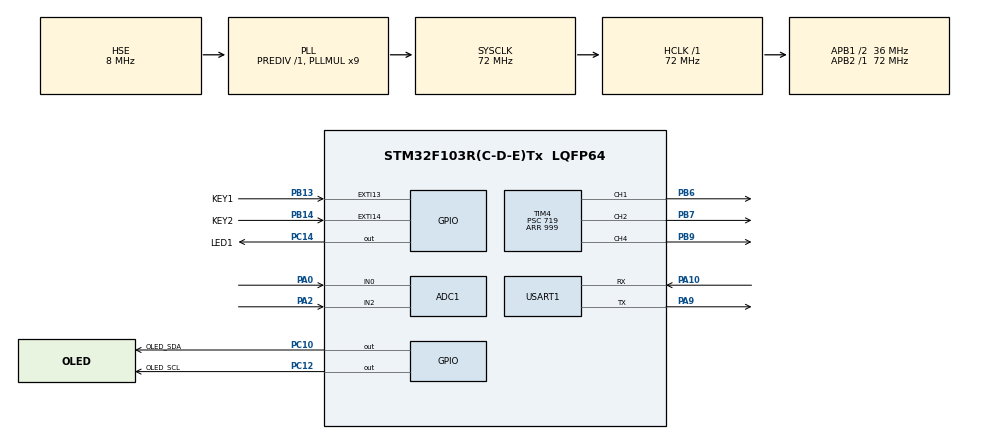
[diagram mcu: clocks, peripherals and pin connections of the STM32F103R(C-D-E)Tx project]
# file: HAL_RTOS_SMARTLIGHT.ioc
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ADC1.Channel-1\#ChannelRegularConversion=ADC_CHANNEL_0
ADC1.Channel-3\#ChannelRegularConversion=ADC_CHANNEL_2
ADC1.ContinuousConvMode=DISABLE
ADC1.ExternalTrigConv=ADC_EXTERNALTRIGCONV_T3_TRGO
ADC1.NbrOfConversion=2
ADC1.NbrOfConversionFlag=1
ADC1.Rank-1\#ChannelRegularConversion=1
ADC1.Rank-3\#ChannelRegularConversion=2
ADC1.SamplingTime-1\#ChannelRegularConversion=ADC_SAMPLETIME_55CYCLES_5
ADC1.SamplingTime-3\#ChannelRegularConversion=ADC_SAMPLETIME_55CYCLES_5
ADC1.master=1
Dma.ADC1.0.Direction=DMA_PERIPH_TO_MEMORY
Dma.ADC1.0.Instance=DMA1_Channel1
Dma.ADC1.0.MemDataAlignment=DMA_MDATAALIGN_HALFWORD
Dma.ADC1.0.MemInc=DMA_MINC_ENABLE
Dma.ADC1.0.Mode=DMA_CIRCULAR
Dma.ADC1.0.PeriphDataAlignment=DMA_PDATAALIGN_HALFWORD
Dma.ADC1.0.PeriphInc=DMA_PINC_DISABLE
Dma.ADC1.0.Priority=DMA_PRIORITY_LOW
Dma.Request0=ADC1
FREERTOS.BinarySemaphores01=myBinarySem01,Dynamic,NULL
FREERTOS.Tasks01=defaultTask,0,128,StartDefaultTask,Default,NULL,Dynamic,NULL,NULL;MAIN_Task,-3,128,Start_MAIN_Task,Default,NULL,Dynamic,NULL,NULL;KEY_PAGE_Task,-3,128,Start_KEY_PAGE_Task,Default,NULL,Dynamic,NULL,NULL
FREERTOS.Timers01=JitterTimer01,JitterTimerCallback01,osTimerOnce,Default,NULL,Dynamic,NULL;JitterTimer02,JitterTimerCallback02,osTimerOnce,Default,NULL,Dynamic,NULL;GET_ADCTimer,GET_ADCTimerCallback,osTimerPeriodic,Default,NULL,Dynamic,NULL
FREERTOS.configLIBRARY_MAX_SYSCALL_INTERRUPT_PRIORITY=5
FREERTOS.configUSE_TIMERS=1
Mcu.Family=STM32F1
Mcu.Name=STM32F103R(C-D-E)Tx
Mcu.Package=LQFP64
NVIC.DMA1_Channel1_IRQn=true\:5\:0\:false\:false\:true\:true\:false\:true\:true
NVIC.EXTI15_10_IRQn=true\:5\:0\:true\:false\:true\:true\:true\:true\:true
NVIC.PriorityGroup=NVIC_PRIORITYGROUP_4
NVIC.RTC_Alarm_IRQn=true\:5\:0\:false\:false\:true\:true\:true\:true\:true
NVIC.TIM7_IRQn=true\:15\:0\:false\:false\:true\:false\:false\:true\:true
NVIC.TimeBase=TIM7_IRQn
NVIC.TimeBaseIP=TIM7
NVIC.USART1_IRQn=true\:5\:0\:false\:false\:true\:true\:true\:true\:true
PA0-WKUP.Signal=ADCx_IN0
PA10.Mode=Asynchronous
PA10.Signal=USART1_RX
PA13.Mode=Serial_Wire
PA13.Signal=SYS_JTMS-SWDIO
PA14.Mode=Serial_Wire
PA14.Signal=SYS_JTCK-SWCLK
PA2.Signal=ADCx_IN2
PA9.Mode=Asynchronous
PA9.Signal=USART1_TX
PB13.GPIO_Label=KEY1
PB13.Signal=GPXTI13
PB14.GPIO_Label=KEY2
PB14.Signal=GPXTI14
PB6.Signal=S_TIM4_CH1
PB7.Signal=S_TIM4_CH2
PB9.Signal=S_TIM4_CH4
PC10.GPIO_Label=OLED_SDA
PC10.Signal=GPIO_Output
PC12.GPIO_Label=OLED_SCL
PC12.Signal=GPIO_Output
PC14-OSC32_IN.GPIO_Label=LED1
PC14-OSC32_IN.Signal=GPIO_Output
PD0-OSC_IN.Mode=HSE-External-Oscillator
PD0-OSC_IN.Signal=RCC_OSC_IN
PD1-OSC_OUT.Mode=HSE-External-Oscillator
PD1-OSC_OUT.Signal=RCC_OSC_OUT
ProjectManager.HeapSize=0x200
ProjectManager.StackSize=0x400
ProjectManager.TargetToolchain=MDK-ARM V5.32
RCC.ADCPresc=RCC_ADCPCLK2_DIV6
RCC.AHBFreq_Value=72000000
RCC.APB1CLKDivider=RCC_HCLK_DIV2
RCC.APB1Freq_Value=36000000
RCC.APB1TimFreq_Value=72000000
RCC.APB2Freq_Value=72000000
RCC.APB2TimFreq_Value=72000000
RCC.HCLKFreq_Value=72000000
RCC.PLLMUL=RCC_PLL_MUL9
RCC.PLLSourceVirtual=RCC_PLLSOURCE_HSE
RCC.RTCClockSelection=RCC_RTCCLKSOURCE_HSE_DIV128
RCC.SYSCLKFreq_VALUE=72000000
RCC.SYSCLKSource=RCC_SYSCLKSOURCE_PLLCLK
RCC.USBFreq_Value=72000000
RTC.Date=29
RTC.Hours=15
RTC.Minutes=55
RTC.Seconds=55
RTC.Year=1
SH.ADCx_IN0.0=ADC1_IN0,IN0
SH.ADCx_IN2.0=ADC1_IN2,IN2
SH.S_TIM4_CH1.0=TIM4_CH1,PWM Generation1 CH1
SH.S_TIM4_CH2.0=TIM4_CH2,PWM Generation2 CH2
SH.S_TIM4_CH4.0=TIM4_CH4,PWM Generation4 CH4
TIM3.AutoReloadPreload=TIM_AUTORELOAD_PRELOAD_ENABLE
TIM3.Period=10
TIM3.Prescaler=71
TIM3.TIM_MasterOutputTrigger=TIM_TRGO_UPDATE
TIM4.Channel-PWM\ Generation1\ CH1=TIM_CHANNEL_1
TIM4.Channel-PWM\ Generation2\ CH2=TIM_CHANNEL_2
TIM4.Channel-PWM\ Generation4\ CH4=TIM_CHANNEL_4
TIM4.OCPolarity_1=TIM_OCPOLARITY_HIGH
TIM4.Period=999
TIM4.Prescaler=719
USART1.VirtualMode=VM_ASYNC
VP_FREERTOS_VS_CMSIS_V1.Mode=CMSIS_V1
VP_RTC_VS_RTC_Activate.Mode=RTC_Enabled
VP_RTC_VS_RTC_Calendar.Mode=RTC_Calendar
VP_SYS_VS_tim7.Mode=TIM7
VP_TIM3_VS_ClockSourceINT.Mode=Internal
board=custom

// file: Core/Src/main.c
/* USER CODE BEGIN Header */
/**
  ******************************************************************************
  * @file           : main.c
  * @brief          : Main program body
  ******************************************************************************
  * @attention
  *
  * Copyright (c) 2023 STMicroelectronics.
  * All rights reserved.
  *
  * This software is licensed under terms that can be found in the LICENSE file
  * in the root directory of this software component.
  * If no LICENSE file comes with this software, it is provided AS-IS.
  *
  ******************************************************************************
  */
/* USER CODE END Header */
#include "main.h"
#include "cmsis_os.h"
#include "adc.h"
#include "dma.h"
#include "rtc.h"
#include "tim.h"
#include "usart.h"
#include "gpio.h"

/* USER CODE BEGIN PTD */
uint8_t UART1_RX_TEMP[1];                                                 // UART1 RECIEVE ONE CHARACTER TEMP
uint8_t UART1_RX_CNT = 0;                                                 // UART1 RECIEVE CHARACTER COUNT
char UART1_RX_BUF[256];                                                   // UART1 RECIEVE STRING
char SUB_RX_BUF[256];                                                     // TEMP ACCESS AND PROCESS BY UART1_RX_BUF
char *pcTEMP_RX;                                                          // SAVE "strstr" STRING BY UART1_RX_BUF
char pcWEEK[4];                                                           // WEEK RECIEVE BY THE UART1
uint16_t usYEAR_FULL, usYEAR_TAIL, usMONTH, usDATE, usHOUR, usMIN, usSEC; // TIME RECIEVE BY THE UART1,
                                                                          // FULL: FOUR DIGITS; TAIL: DOUBLE DIGITS
uint16_t usTIMING_HOUR, usTIMING_MIN, usTIMING_SEC;                       // TIMING RECIEVE BY THE UART1
uint16_t usCTR_BRIGHTNESS;                                                // SET THE BRIGHTNESS BY UART1 COMMAND
char pcREQUEST_ID[37];                                                    // SAVE THE IOT COMMAND REQUEST_ID
uint8_t usLOWER_HALF_SFLAG = 0;                                           // LOWER DISPLAY STATUS FLAG
                                                                          // 0: POWER; 1: TIMING; 2: VOLTAGE; 3: CURRENT
uint8_t usTIMING_CMD;                                                     // TIMING COMMAND, 1: TIMING ON; 0: TIMING OFF
uint16_t psBRIGHTNESS_STORAGE[3] = {0};                                   // USE FOR SAVE BRIGHTNESS TO UPLOAD
/* USER CODE END PTD */

void SystemClock_Config(void);
void MX_FREERTOS_Init(void);

int main(void)
{

  /* MCU Configuration--------------------------------------------------------*/

  /* Reset of all peripherals, Initializes the Flash interface and the Systick. */
  HAL_Init();

  /* Configure the system clock */
  SystemClock_Config();

  /* Initialize all configured peripherals */
  MX_GPIO_Init();
  MX_DMA_Init();
  MX_USART1_UART_Init();
  MX_TIM4_Init();
  MX_ADC1_Init();
  MX_RTC_Init();
  MX_TIM3_Init();
  /* USER CODE BEGIN 2 */
  OLED_Init();                                               // OLED INITITAL
	HAL_TIM_Base_Start(&htim3);                                // START TIM3 TO TRIGGER ADC1
  ADC_GET_START();                                           // ENABLE DMA TO ADC1
	HAL_TIM_PWM_Start(&htim4, TIM_CHANNEL_1);                  // ENABLE PWM CHANNEL1 OUTPUT
	HAL_TIM_PWM_Start(&htim4, TIM_CHANNEL_2);                  // ENABLE PWM CHANNEL2 OUTPUT
	HAL_TIM_PWM_Start(&htim4, TIM_CHANNEL_4);                  // ENABLE PWM CHANNEL4 OUTPUT
	HAL_UART_Receive_IT(&huart1, (uint8_t *)UART1_RX_TEMP, 1); // ENABLE RECEIVE IT ONCE
	HuaweiIot_init();                                          // CONNECT WIFI AND HUAWEIIOT
	HAL_Delay(2000);
	RTC_SYNC_TIME();                                           // WAIT RTC GET THE NEW TIME
  /* USER CODE END 2 */

  /* Call init function for freertos objects (in freertos.c) */
  MX_FREERTOS_Init();

  /* Start scheduler */
  osKernelStart();
  /* We should never get here as control is now taken by the scheduler */
  /* Infinite loop */
  while (1)
  {

  }
}

void SystemClock_Config(void)
{
  RCC_OscInitTypeDef RCC_OscInitStruct = {0};
  RCC_ClkInitTypeDef RCC_ClkInitStruct = {0};
  RCC_PeriphCLKInitTypeDef PeriphClkInit = {0};

  /** Initializes the RCC Oscillators according to the specified parameters
  * in the RCC_OscInitTypeDef structure.
  */
  RCC_OscInitStruct.OscillatorType = RCC_OSCILLATORTYPE_HSE;
  RCC_OscInitStruct.HSEState = RCC_HSE_ON;
  RCC_OscInitStruct.HSEPredivValue = RCC_HSE_PREDIV_DIV1;
  RCC_OscInitStruct.HSIState = RCC_HSI_ON;
  RCC_OscInitStruct.PLL.PLLState = RCC_PLL_ON;
  RCC_OscInitStruct.PLL.PLLSource = RCC_PLLSOURCE_HSE;
  RCC_OscInitStruct.PLL.PLLMUL = RCC_PLL_MUL9;
  if (HAL_RCC_OscConfig(&RCC_OscInitStruct) != HAL_OK)
  {
    Error_Handler();
  }

  /** Initializes the CPU, AHB and APB buses clocks
  */
  RCC_ClkInitStruct.ClockType = RCC_CLOCKTYPE_HCLK|RCC_CLOCKTYPE_SYSCLK
                              |RCC_CLOCKTYPE_PCLK1|RCC_CLOCKTYPE_PCLK2;
  RCC_ClkInitStruct.SYSCLKSource = RCC_SYSCLKSOURCE_PLLCLK;
  RCC_ClkInitStruct.AHBCLKDivider = RCC_SYSCLK_DIV1;
  RCC_ClkInitStruct.APB1CLKDivider = RCC_HCLK_DIV2;
  RCC_ClkInitStruct.APB2CLKDivider = RCC_HCLK_DIV1;

  if (HAL_RCC_ClockConfig(&RCC_ClkInitStruct, FLASH_LATENCY_2) != HAL_OK)
  {
    Error_Handler();
  }
  PeriphClkInit.PeriphClockSelection = RCC_PERIPHCLK_RTC|RCC_PERIPHCLK_ADC;
  PeriphClkInit.RTCClockSelection = RCC_RTCCLKSOURCE_HSE_DIV128;
  PeriphClkInit.AdcClockSelection = RCC_ADCPCLK2_DIV6;
  if (HAL_RCCEx_PeriphCLKConfig(&PeriphClkInit) != HAL_OK)
  {
    Error_Handler();
  }
}

/* USER CODE BEGIN 4 */

/**
 * @description: USART1 IT RECEIVE CALLBACK FUNCTION
 * @param {UART_HandleTypeDef} *huart
 * @return {*}
 */
void HAL_UART_RxCpltCallback(UART_HandleTypeDef *huart)
{

  if(huart->Instance == USART1)
  {
		if(UART1_RX_TEMP[0] == ' ' && UART1_RX_CNT == 0)
		{
			//delete space
		}
		else
		{
			UART1_RX_BUF[UART1_RX_CNT] = UART1_RX_TEMP[0];
			UART1_RX_CNT++;
		}

    if(UART1_RX_TEMP[0] == 0x0A)
    {
			//do something, receive a string finish
			if(UART1_RX_CNT >= 2 && UART1_RX_CNT <= 6) //wait for check AT status,wait for test strncpy length
      {
        strncpy(SUB_RX_BUF, UART1_RX_BUF, 2);
        if(strcmp(SUB_RX_BUF, "OK") == 0)
          atok_rec_flag = 1;
        strncpy(SUB_RX_BUF, UART1_RX_BUF, 5);
        if(strcmp(SUB_RX_BUF, "ready") == 0)
          atok_rec_flag = 1;
        strncpy(SUB_RX_BUF, UART1_RX_BUF, 5);
        if(strcmp(SUB_RX_BUF, "ERROR") == 0)
          atok_rec_flag = 0;
        // memset(SUB_RX_BUF, 0, sizeof(SUB_RX_BUF));//wait for check can delete
      }
      else
      {
        strncpy(SUB_RX_BUF, UART1_RX_BUF, 12);
        //GET TIME
        if(strcmp(SUB_RX_BUF, "+CIPSNTPTIME") == 0)
        {
          if(UART1_RX_BUF[22] == ' ') //WHEN THE DATE IS SINGLE,DELETE THE SPACE
          {
            usYEAR_FULL = (UART1_RX_BUF[32]-'0')*1000+(UART1_RX_BUF[33]-'0')*100+(UART1_RX_BUF[34]-'0')*10+(UART1_RX_BUF[35]-'0');
            usYEAR_TAIL = (UART1_RX_BUF[34]-'0')*10+(UART1_RX_BUF[35]-'0');
            usDATE = (UART1_RX_BUF[21]-'0');
            usHOUR = (UART1_RX_BUF[23]-'0')*10+(UART1_RX_BUF[24]-'0');
            usMIN  = (UART1_RX_BUF[26]-'0')*10+(UART1_RX_BUF[27]-'0');
            usSEC  = (UART1_RX_BUF[29]-'0')*10+(UART1_RX_BUF[30]-'0');
          }
          else
          {
            usYEAR_FULL = (UART1_RX_BUF[33]-'0')*1000+(UART1_RX_BUF[34]-'0')*100+(UART1_RX_BUF[35]-'0')*10+(UART1_RX_BUF[36]-'0');
            usYEAR_TAIL = (UART1_RX_BUF[35]-'0')*10+(UART1_RX_BUF[36]-'0');
            usDATE = (UART1_RX_BUF[21]-'0')*10+(UART1_RX_BUF[22]-'0');
            usHOUR = (UART1_RX_BUF[24]-'0')*10+(UART1_RX_BUF[25]-'0');
            usMIN  = (UART1_RX_BUF[27]-'0')*10+(UART1_RX_BUF[28]-'0');
            usSEC  = (UART1_RX_BUF[30]-'0')*10+(UART1_RX_BUF[31]-'0');
          }
          if(usYEAR_FULL < 2023)
          {
            OLED_Clear();
            OLED_ShowString(0,0,(u8 *)"Wait RTC...",16);
            RTC_SYNC_FLAG = 1;
          }
          else
          {
            //SYNC FINISH
            RTC_SYNC_FLAG = 0;
            strncpy(pcWEEK, UART1_RX_BUF+13, 3);
            if(UART1_RX_BUF[17] == 'J' && UART1_RX_BUF[18] == 'a' && UART1_RX_BUF[19] == 'n')
              usMONTH = 1;
            else if(UART1_RX_BUF[17] == 'F' && UART1_RX_BUF[18] == 'e' && UART1_RX_BUF[19] == 'b')
              usMONTH = 2;
            else if(UART1_RX_BUF[17] == 'M' && UART1_RX_BUF[18] == 'a' && UART1_RX_BUF[19] == 'r')
              usMONTH = 3;
            else if(UART1_RX_BUF[17] == 'A' && UART1_RX_BUF[18] == 'p' && UART1_RX_BUF[19] == 'r')
              usMONTH = 4;
            else if(UART1_RX_BUF[17] == 'M' && UART1_RX_BUF[18] == 'a' && UART1_RX_BUF[19] == 'y')
              usMONTH = 5;
            else if(UART1_RX_BUF[17] == 'J' && UART1_RX_BUF[18] == 'u' && UART1_RX_BUF[19] == 'n')
              usMONTH = 6;
            else if(UART1_RX_BUF[17] == 'J' && UART1_RX_BUF[18] == 'u' && UART1_RX_BUF[19] == 'l')
              usMONTH = 7;
            else if(UART1_RX_BUF[17] == 'A' && UART1_RX_BUF[18] == 'u' && UART1_RX_BUF[19] == 'g')
              usMONTH = 8;
            else if(UART1_RX_BUF[17] == 'S' && UART1_RX_BUF[18] == 'e' && UART1_RX_BUF[19] == 'p')
              usMONTH = 9;
            else if(UART1_RX_BUF[17] == 'O' && UART1_RX_BUF[18] == 'c' && UART1_RX_BUF[19] == 't')
              usMONTH = 10;
            else if(UART1_RX_BUF[17] == 'N' && UART1_RX_BUF[18] == 'o' && UART1_RX_BUF[19] == 'v')
              usMONTH = 11;
            else if(UART1_RX_BUF[17] == 'D' && UART1_RX_BUF[18] == 'e' && UART1_RX_BUF[19] == 'c')
              usMONTH = 12;

            //printf("test:%d/%d/%d,%d:%d:%d,%s\r\n",usYEAR_FULL,usMONTH,usDATE,usHOUR,usMIN,usSEC,pcWEEK);
            RTC_SET(usYEAR_TAIL,usMONTH,usDATE,usHOUR,usMIN,usSEC);
          }
        }
        //GET MQTT COMMAND
        else if(strcmp(SUB_RX_BUF, "+MQTTSUBRECV") == 0)
        {
          pcTEMP_RX = strstr(UART1_RX_BUF, "request_id");
          if(pcTEMP_RX != NULL)
          {
            strncpy(pcREQUEST_ID, &pcTEMP_RX[10], 37);
            printf("r_id:%s\r\n",pcREQUEST_ID); // FIND THE REQUEST ID
            pcTEMP_RX = strstr(UART1_RX_BUF, "power");
            if(pcTEMP_RX != NULL)
            {
              if(pcTEMP_RX[8] == 'O' && pcTEMP_RX[9] == 'N')
              {
                //TIMING ON COMMAND
                usTIMING_HOUR = (pcTEMP_RX[19]-'0')*10+(pcTEMP_RX[20]-'0');
                usTIMING_MIN  = (pcTEMP_RX[21]-'0')*10+(pcTEMP_RX[22]-'0');
                usTIMING_SEC  = (pcTEMP_RX[23]-'0')*10+(pcTEMP_RX[24]-'0');
                //printf("ON:%d:%d:%d\r\n",usTIMING_HOUR,usTIMING_MIN,usTIMING_SEC);//TIMING ON
                RTC_SET_ALARM(usTIMING_HOUR, usTIMING_MIN, usTIMING_SEC);
                usLOWER_HALF_SFLAG = 1;
                usTIMING_CMD = 1;
                OLED_ShowString(0,6,(u8 *)"              ",16); //CLEAN LOWER HALF
              }
              else if (pcTEMP_RX[8] == 'O' && pcTEMP_RX[9] == 'F' && pcTEMP_RX[10] == 'F')
              {
                //TIMING OFF COMMAND
                usTIMING_HOUR = (pcTEMP_RX[20]-'0')*10+(pcTEMP_RX[21]-'0');
                usTIMING_MIN  = (pcTEMP_RX[22]-'0')*10+(pcTEMP_RX[23]-'0');
                usTIMING_SEC  = (pcTEMP_RX[24]-'0')*10+(pcTEMP_RX[25]-'0');
                //printf("OFF:%d:%d:%d\r\n",usTIMING_HOUR,usTIMING_MIN,usTIMING_SEC);//TIMING OFF
                RTC_SET_ALARM(usTIMING_HOUR, usTIMING_MIN, usTIMING_SEC);
                usLOWER_HALF_SFLAG = 1;
                OLED_ShowString(0,6,(u8 *)"              ",16); //CLEAN LOWER HALF
              }
              else
              {
                //SET LIGHT COMMAND
                usCTR_BRIGHTNESS = (pcTEMP_RX[8]-'0')*100+(pcTEMP_RX[9]-'0')*10;
                if(pcTEMP_RX[23] == 'A' && pcTEMP_RX[24] == 'L' && pcTEMP_RX[25] == 'L')
                {
                  //SET ALL IN LIGHT
                  //printf("ALL:%d\r\n",usCTR_BRIGHTNESS);
                  psBRIGHTNESS_STORAGE[0] = usCTR_BRIGHTNESS;
                  psBRIGHTNESS_STORAGE[1] = usCTR_BRIGHTNESS;
                  psBRIGHTNESS_STORAGE[2] = usCTR_BRIGHTNESS;
                  __HAL_TIM_SetCompare(&htim4,TIM_CHANNEL_1,usCTR_BRIGHTNESS);
                  __HAL_TIM_SetCompare(&htim4,TIM_CHANNEL_2,usCTR_BRIGHTNESS);
                  __HAL_TIM_SetCompare(&htim4,TIM_CHANNEL_4,usCTR_BRIGHTNESS);
                }
                else if(pcTEMP_RX[23] == 'L' && pcTEMP_RX[24] == '1')
                {
                  //SET LIGHT L1
                  //printf("L1:%d\r\n",usCTR_BRIGHTNESS);
                  psBRIGHTNESS_STORAGE[0] = usCTR_BRIGHTNESS;
                  __HAL_TIM_SetCompare(&htim4,TIM_CHANNEL_1,usCTR_BRIGHTNESS);
                }
                else if(pcTEMP_RX[23] == 'L' && pcTEMP_RX[24] == '2')
                {
                  //SET LIGHT L2
                  //printf("L2:%d\r\n",usCTR_BRIGHTNESS);
                  psBRIGHTNESS_STORAGE[1] = usCTR_BRIGHTNESS;
                  __HAL_TIM_SetCompare(&htim4,TIM_CHANNEL_2,usCTR_BRIGHTNESS);
                }
                else if(pcTEMP_RX[23] == 'L' && pcTEMP_RX[24] == '3')
                {
                  //SET LIGHT L3
                  //printf("L3:%d\r\n",usCTR_BRIGHTNESS);
                  psBRIGHTNESS_STORAGE[2] = usCTR_BRIGHTNESS;
                  __HAL_TIM_SetCompare(&htim4,TIM_CHANNEL_4,usCTR_BRIGHTNESS);
                }
              }
            }
          }
          printf("AT+MQTTPUB=0,\"$oc/devices/%s/sys/commands/response/request_id=%s\",\"\",0,0\r\n",HUAWEI_MQTT_DeviceID,pcREQUEST_ID);
        }
        memset(SUB_RX_BUF, 0, sizeof(SUB_RX_BUF));
      }

			for(int i=0;i<UART1_RX_CNT;i++)
				UART1_RX_BUF[i] = 0;
			UART1_RX_CNT = 0;
    }
  }
		HAL_UART_Receive_IT(&huart1, (uint8_t *)UART1_RX_TEMP, 1);

}

/* USER CODE END 4 */

void HAL_TIM_PeriodElapsedCallback(TIM_HandleTypeDef *htim)
{
  if (htim->Instance == TIM7) {
    HAL_IncTick();
  }
}

void Error_Handler(void)
{
  __disable_irq();
  while (1)
  {
  }
}

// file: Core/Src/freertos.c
/* USER CODE BEGIN Header */
/**
  ******************************************************************************
  * File Name          : freertos.c
  * Description        : Code for freertos applications
  ******************************************************************************
  * @attention
  *
  * Copyright (c) 2023 STMicroelectronics.
  * All rights reserved.
  *
  * This software is licensed under terms that can be found in the LICENSE file
  * in the root directory of this software component.
  * If no LICENSE file comes with this software, it is provided AS-IS.
  *
  ******************************************************************************
  */
/* USER CODE END Header */

#include "FreeRTOS.h"
#include "task.h"
#include "main.h"
#include "cmsis_os.h"

/* USER CODE BEGIN Includes */
#include "usart.h"
#include "tim.h"
#include "adc.h"
#include "rtc.h"
#include "string.h"
/* USER CODE END Includes */

/* USER CODE BEGIN PTD */
RTC_DateTypeDef sDATE;                 // HAL_RTC_GetDate STRUCTURE
RTC_TimeTypeDef sTIME;                 // HAL_RTC_GetTime STRUCTURE
uint8_t usLOWER_HALF_FLAG_SAVE = 0;    // PREVIOUS LOWER FLAG SAVING USE FOR RESUME PREVIOUS FLAG
uint16_t psBRIGHTNESS_SAVE[3] = {0};   // WHEN ADJUST BRIGHTNESS AND TIMING OFF, SAVE PREVIOUS BRIGHTNESS
extern char pcWEEK[5];
extern uint8_t usLOWER_HALF_SFLAG;
extern uint16_t usTIMING_HOUR, usTIMING_MIN, usTIMING_SEC;
extern uint8_t usTIMING_CMD;
extern uint16_t psBRIGHTNESS_STORAGE[3];
/* USER CODE END PTD */

osThreadId defaultTaskHandle;
osThreadId MAIN_TaskHandle;
osThreadId KEY_PAGE_TaskHandle;
osTimerId JitterTimer01Handle;
osTimerId JitterTimer02Handle;
osTimerId GET_ADCTimerHandle;
osSemaphoreId myBinarySem01Handle;

void StartDefaultTask(void const * argument);
void Start_MAIN_Task(void const * argument);
void Start_KEY_PAGE_Task(void const * argument);
void JitterTimerCallback01(void const * argument);
void JitterTimerCallback02(void const * argument);
void GET_ADCTimerCallback(void const * argument);

void MX_FREERTOS_Init(void); /* (MISRA C 2004 rule 8.1) */

/* GetIdleTaskMemory prototype (linked to static allocation support) */
void vApplicationGetIdleTaskMemory( StaticTask_t **ppxIdleTaskTCBBuffer, StackType_t **ppxIdleTaskStackBuffer, uint32_t *pulIdleTaskStackSize );

/* GetTimerTaskMemory prototype (linked to static allocation support) */
void vApplicationGetTimerTaskMemory( StaticTask_t **ppxTimerTaskTCBBuffer, StackType_t **ppxTimerTaskStackBuffer, uint32_t *pulTimerTaskStackSize );

/* USER CODE BEGIN GET_IDLE_TASK_MEMORY */
static StaticTask_t xIdleTaskTCBBuffer;
static StackType_t xIdleStack[configMINIMAL_STACK_SIZE];

void vApplicationGetIdleTaskMemory( StaticTask_t **ppxIdleTaskTCBBuffer, StackType_t **ppxIdleTaskStackBuffer, uint32_t *pulIdleTaskStackSize )
{
  *ppxIdleTaskTCBBuffer = &xIdleTaskTCBBuffer;
  *ppxIdleTaskStackBuffer = &xIdleStack[0];
  *pulIdleTaskStackSize = configMINIMAL_STACK_SIZE;
  /* place for user code */
}
/* USER CODE END GET_IDLE_TASK_MEMORY */

/* USER CODE BEGIN GET_TIMER_TASK_MEMORY */
static StaticTask_t xTimerTaskTCBBuffer;
static StackType_t xTimerStack[configTIMER_TASK_STACK_DEPTH];

void vApplicationGetTimerTaskMemory( StaticTask_t **ppxTimerTaskTCBBuffer, StackType_t **ppxTimerTaskStackBuffer, uint32_t *pulTimerTaskStackSize )
{
  *ppxTimerTaskTCBBuffer = &xTimerTaskTCBBuffer;
  *ppxTimerTaskStackBuffer = &xTimerStack[0];
  *pulTimerTaskStackSize = configTIMER_TASK_STACK_DEPTH;
  /* place for user code */
}
/* USER CODE END GET_TIMER_TASK_MEMORY */

void MX_FREERTOS_Init(void) {

  /* Create the semaphores(s) */
  /* definition and creation of myBinarySem01 */
  osSemaphoreDef(myBinarySem01);
  myBinarySem01Handle = osSemaphoreCreate(osSemaphore(myBinarySem01), 1);

  /* Create the timer(s) */
  /* definition and creation of JitterTimer01 */
  osTimerDef(JitterTimer01, JitterTimerCallback01);
  JitterTimer01Handle = osTimerCreate(osTimer(JitterTimer01), osTimerOnce, NULL);

  /* definition and creation of JitterTimer02 */
  osTimerDef(JitterTimer02, JitterTimerCallback02);
  JitterTimer02Handle = osTimerCreate(osTimer(JitterTimer02), osTimerOnce, NULL);

  /* definition and creation of GET_ADCTimer */
  osTimerDef(GET_ADCTimer, GET_ADCTimerCallback);
  GET_ADCTimerHandle = osTimerCreate(osTimer(GET_ADCTimer), osTimerPeriodic, NULL);

  /* USER CODE BEGIN RTOS_TIMERS */
  /* start timers, add new ones, ... */

  osTimerStart(JitterTimer01Handle, 200);   // START TIMER1 ONCE AND SET TIME(ms)
	osTimerStop(JitterTimer01Handle);         // STOP TIMER1, SET TIME NEED START
  osTimerStart(JitterTimer02Handle, 200);   // START TIMER2 ONCE AND SET TIME(ms)
  osTimerStop(JitterTimer02Handle);         // STOP TIMER2, SET TIME NEED START
  osTimerStart(GET_ADCTimerHandle, 5000);   // START TIMER3 PERIODIC AND SET TIME(ms)

  /* USER CODE END RTOS_TIMERS */

  /* Create the thread(s) */
  /* definition and creation of defaultTask */
  osThreadDef(defaultTask, StartDefaultTask, osPriorityNormal, 0, 128);
  defaultTaskHandle = osThreadCreate(osThread(defaultTask), NULL);

  /* definition and creation of MAIN_Task */
  osThreadDef(MAIN_Task, Start_MAIN_Task, osPriorityIdle, 0, 128);
  MAIN_TaskHandle = osThreadCreate(osThread(MAIN_Task), NULL);

  /* definition and creation of KEY_PAGE_Task */
  osThreadDef(KEY_PAGE_Task, Start_KEY_PAGE_Task, osPriorityIdle, 0, 128);
  KEY_PAGE_TaskHandle = osThreadCreate(osThread(KEY_PAGE_Task), NULL);

}

void StartDefaultTask(void const * argument)
{
  /* USER CODE BEGIN StartDefaultTask */
  /* Infinite loop */
	for(;;)
  {

		//HAL_GPIO_TogglePin(GPIOC,LED1_Pin);

//		__HAL_TIM_SetCompare(&htim4,TIM_CHANNEL_1,val);
//		__HAL_TIM_SetCompare(&htim4,TIM_CHANNEL_2,val);
//		__HAL_TIM_SetCompare(&htim4,TIM_CHANNEL_4,val);

//		if(UART1_RX_FLAG)
//    {
//      HAL_UART_Transmit(&huart1, UART1_RX_BUF, UART1_RX_CNT, 0x10);
//      for(int i=0;i<UART1_RX_CNT;i++)
//        UART1_RX_BUF[i] = 0;
//      UART1_RX_CNT = 0;
//      UART1_RX_FLAG = 0;
//    }

    osThreadSuspend(defaultTaskHandle);

		/*TASK2 BACKUP*/
		// HAL_RTC_GetTime(&hrtc, &sTIME, RTC_FORMAT_BIN);
		// HAL_RTC_GetDate(&hrtc, &sDATE, RTC_FORMAT_BIN);

		// printf("%d/%02d/%02d,%02d:%02d:%02d\r\n",2000+sDATE.Year,sDATE.Month,sDATE.Date,sTIME.Hours,sTIME.Minutes,sTIME.Seconds);
		//ADC_get_voltage();
    //printf("%d/%d/%d,%d:%d:%d\r\n",usYEAR,usMONTH,usDATE,usHOUR,usMIN,usSEC);

		//OLED_ShowString(0,0,(u8 *)"hello,test",16);
    //printf("voltage: %f, current: %f, power: %f \r\n",Voltage_value(),Current_value(),Power_value());
    //osDelay(1000);

//		if(ledflag==0)
//			val++;
//		if(ledflag==1)
//			val--;
//		if(val==999)
//			ledflag=1;
//		if(val==0)
//			ledflag=0;
  }
  /* USER CODE END StartDefaultTask */
}

void Start_MAIN_Task(void const * argument)
{
  /* USER CODE BEGIN Start_MAIN_Task */
  /* Infinite loop */
  for(;;)
  {
    char str[9];
    char set_temp[10];

    HAL_GPIO_TogglePin(GPIOC,LED1_Pin);

    HAL_RTC_GetTime(&hrtc, &sTIME, RTC_FORMAT_BIN);
		HAL_RTC_GetDate(&hrtc, &sDATE, RTC_FORMAT_BIN);

    str[0] = sTIME.Hours/10+'0';
    str[1] = sTIME.Hours%10+'0';	str[2] = ':';
    str[3] = sTIME.Minutes/10+'0';
    str[4] = sTIME.Minutes%10+'0';str[5] = ':';
    str[6] = sTIME.Seconds/10+'0';
    str[7] = sTIME.Seconds%10+'0';
    str[8] = '\0';
    OLED_ShowString(0,2,(u8 *)str,16);  // DISPLAY TIME

    OLED_ShowNum(0,0,sDATE.Year+2000,4,16);
    OLED_ShowCHinese(32,0,0);    // DISPLAY YEAR
    if(sDATE.Month < 10)
    {
      OLED_ShowNum(48,0,0,1,16);
      OLED_ShowNum(56,0,sDATE.Month,1,16);
      OLED_ShowCHinese(64,0,1);  // DISPLAY MONTH SINGLE
    }
    else
    {
      OLED_ShowNum(48,0,sDATE.Month,2,16);
      OLED_ShowCHinese(64,0,1);  // DISPLAY MONTH
    }
    if(sDATE.Date < 10)
    {
      OLED_ShowNum(80,0,0,1,16);
      OLED_ShowNum(88,0,sDATE.Date,1,16);
      OLED_ShowCHinese(96,0,2);  // DISPLAY DATE SINGLE
    }
    else
    {
      OLED_ShowNum(80,0,sDATE.Date,2,16);
      OLED_ShowCHinese(96,0,2);  // DISPLAY DATE
    }
    OLED_ShowString(80,2,(u8 *)pcWEEK,16);

    if(usLOWER_HALF_SFLAG == 0)  // FLAG FOR POWER
    {
      OLED_ShowCHinese2(16,6,9,3); // SHOW THE POWER
      OLED_Showdecimal(64,6,Power_value(),2,2,16);
      OLED_ShowChar(102,6,'W',16);
    }
    else if (usLOWER_HALF_SFLAG == 1) //SHOW THE TIMING
    {
      set_temp[0] = usTIMING_HOUR/10+'0';
      set_temp[1] = usTIMING_HOUR%10+'0'; set_temp[2] = ':';
      set_temp[3] = usTIMING_MIN/10+'0';
      set_temp[4] = usTIMING_MIN%10+'0';  set_temp[5] = ':';
      set_temp[6] = usTIMING_SEC/10+'0';
      set_temp[7] = usTIMING_SEC%10+'0';
      set_temp[8] = '\0';

      //OLED_Clear();  //DELETE THE OUTDATE POWER
      OLED_ShowString(0,6,(u8 *)"SET ",24);
      OLED_ShowString(32,6,(u8 *)set_temp,24);
    }
    osDelay(1000);
  }
  /* USER CODE END Start_MAIN_Task */
}

void Start_KEY_PAGE_Task(void const * argument)
{
  /* USER CODE BEGIN Start_KEY_PAGE_Task */
  /* Infinite loop */
  for(;;)
  {
    if(usLOWER_HALF_SFLAG == 2) // DISPLAY THE VOLTAGE
    {
      OLED_ShowString(0,6,(u8 *)"              ",16); //CLEAN LOWER HALF
      OLED_ShowCHinese2(16,6,3,3);
      OLED_Showdecimal(64,6,Voltage_value(),2,2,16);
      OLED_ShowChar(102,6,'V',16);
    }
    else if (usLOWER_HALF_SFLAG == 3) // DISPLAY THE CURRENT
    {
      OLED_ShowString(0,6,(u8 *)"              ",16); //CLEAN LOWER HALF
      OLED_ShowCHinese2(16,6,6,3);
      OLED_Showdecimal(64,6,Current_value(),2,2,16);
      OLED_ShowChar(102,6,'A',16);
    }
    osDelay(2000);
    usLOWER_HALF_SFLAG = usLOWER_HALF_FLAG_SAVE;
    usLOWER_HALF_FLAG_SAVE = 0;
    OLED_ShowString(0,6,(u8 *)"              ",16); //CLEAN LOWER HALF
    osThreadSuspend(KEY_PAGE_TaskHandle);
  }
  /* USER CODE END Start_KEY_PAGE_Task */
}

/* JitterTimerCallback01 function */
void JitterTimerCallback01(void const * argument)
{
  /* USER CODE BEGIN JitterTimerCallback01 */
  //printf("<KEY1 PRESS>");
  BaseType_t YieldRequired;
  usLOWER_HALF_FLAG_SAVE = usLOWER_HALF_SFLAG;
  usLOWER_HALF_SFLAG = 2;
  YieldRequired = xTaskResumeFromISR(KEY_PAGE_TaskHandle);
  if(YieldRequired == pdTRUE)
  {
    portYIELD_FROM_ISR(YieldRequired);
  }
  /* USER CODE END JitterTimerCallback01 */
}

/* JitterTimerCallback02 function */
void JitterTimerCallback02(void const * argument)
{
  /* USER CODE BEGIN JitterTimerCallback02 */
  //printf("<KEY2 PRESS>");
  BaseType_t YieldRequired;
  usLOWER_HALF_FLAG_SAVE = usLOWER_HALF_SFLAG;
  usLOWER_HALF_SFLAG = 3;
  YieldRequired = xTaskResumeFromISR(KEY_PAGE_TaskHandle);
  if(YieldRequired == pdTRUE)
  {
    portYIELD_FROM_ISR(YieldRequired);
  }
  /* USER CODE END JitterTimerCallback02 */
}

/* GET_ADCTimerCallback function */
void GET_ADCTimerCallback(void const * argument)
{
  /* USER CODE BEGIN GET_ADCTimerCallback */
  ADC_GET_VOLTAGE();
  HuaweiIot_DevDate_publish3((char*)"voltage",Voltage_value(),(char*)"current",Current_value(),(char*)"power",Power_value());
  osDelay(500);
  HuaweiIot_DevDate_publish3((char*)"L1",psBRIGHTNESS_STORAGE[0]/10,(char*)"L2",psBRIGHTNESS_STORAGE[1]/10,(char*)"L3",psBRIGHTNESS_STORAGE[2]/10);
  /* USER CODE END GET_ADCTimerCallback */
}

/* USER CODE BEGIN Application */

/**
 * @description: GPIO interrupt callback : key to printf.
 * @param {uint16_t} GPIO_Pin
 * @return {*}
 */
void HAL_GPIO_EXTI_Callback(uint16_t GPIO_Pin)
{
  BaseType_t pxHigherPriorityTaskWoken1 = pdFALSE;
  BaseType_t pxHigherPriorityTaskWoken2 = pdFALSE;
	switch(GPIO_Pin)
	{
		case KEY1_Pin :
      xTimerResetFromISR(JitterTimer01Handle, &pxHigherPriorityTaskWoken1);
      portYIELD_FROM_ISR(pxHigherPriorityTaskWoken1); //Trigger timer scheduling
      break;
		case KEY2_Pin :
      xTimerResetFromISR(JitterTimer02Handle, &pxHigherPriorityTaskWoken2);
      portYIELD_FROM_ISR(pxHigherPriorityTaskWoken2);
      break;
		default : break;
	}
}

/**
 * @description: RTC ALARM TIMEOUT CALLBACK FUNCTION
 * @param {RTC_HandleTypeDef} *hrtc
 * @return {*}
 */
void HAL_RTC_AlarmAEventCallback(RTC_HandleTypeDef *hrtc)
{
  //printf("RTC ALARM INTERRUPT\r\n");
  if(usTIMING_CMD == 1) //TIMING ON
  {
    if (psBRIGHTNESS_STORAGE[0] == 0 && psBRIGHTNESS_STORAGE[1] == 0 && psBRIGHTNESS_STORAGE[2] == 0)
    {
      psBRIGHTNESS_STORAGE[0] = 450;
      psBRIGHTNESS_STORAGE[1] = 450;
      psBRIGHTNESS_STORAGE[2] = 450;
    }
    if(psBRIGHTNESS_SAVE[0] != 0 || psBRIGHTNESS_SAVE[1] != 0 || psBRIGHTNESS_SAVE[2] != 0)
    {
      psBRIGHTNESS_STORAGE[0] = psBRIGHTNESS_SAVE[0];
      psBRIGHTNESS_STORAGE[1] = psBRIGHTNESS_SAVE[1];
      psBRIGHTNESS_STORAGE[2] = psBRIGHTNESS_SAVE[2];
    }
    __HAL_TIM_SetCompare(&htim4,TIM_CHANNEL_1,psBRIGHTNESS_STORAGE[0]);
		__HAL_TIM_SetCompare(&htim4,TIM_CHANNEL_2,psBRIGHTNESS_STORAGE[1]);
		__HAL_TIM_SetCompare(&htim4,TIM_CHANNEL_4,psBRIGHTNESS_STORAGE[2]);
  }
  else                   //TIMING OFF
  {
    psBRIGHTNESS_SAVE[0] = psBRIGHTNESS_STORAGE[0];
    psBRIGHTNESS_SAVE[1] = psBRIGHTNESS_STORAGE[1];
    psBRIGHTNESS_SAVE[2] = psBRIGHTNESS_STORAGE[2];
    psBRIGHTNESS_STORAGE[0] = 0;
    psBRIGHTNESS_STORAGE[1] = 0;
    psBRIGHTNESS_STORAGE[2] = 0;
    __HAL_TIM_SetCompare(&htim4,TIM_CHANNEL_1,psBRIGHTNESS_STORAGE[0]);
    __HAL_TIM_SetCompare(&htim4,TIM_CHANNEL_2,psBRIGHTNESS_STORAGE[1]);
		__HAL_TIM_SetCompare(&htim4,TIM_CHANNEL_4,psBRIGHTNESS_STORAGE[2]);
  }
  usTIMING_CMD = 0;
  usLOWER_HALF_SFLAG = 0;
  OLED_ShowString(0,6,(u8 *)"              ",16); // CLEAN LOWER HALF
}

/* USER CODE END Application */
